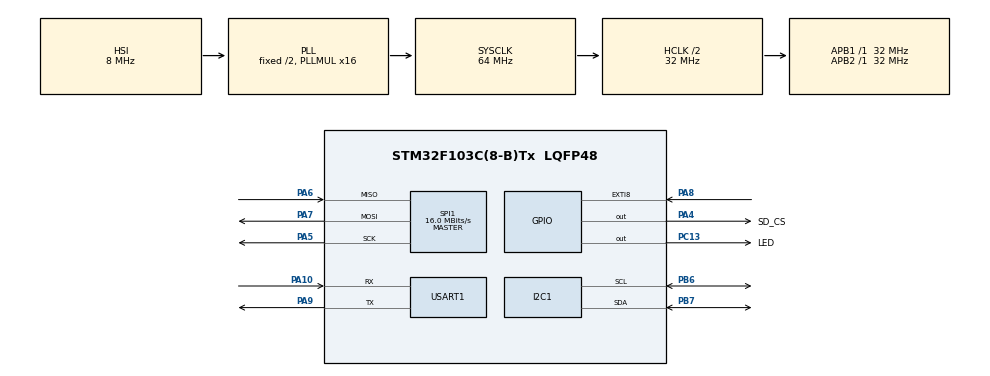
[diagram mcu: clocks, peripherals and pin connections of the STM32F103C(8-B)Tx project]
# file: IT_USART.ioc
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Dma.MEMTOMEM.2.Direction=DMA_MEMORY_TO_MEMORY
Dma.MEMTOMEM.2.Instance=DMA1_Channel1
Dma.MEMTOMEM.2.MemDataAlignment=DMA_MDATAALIGN_BYTE
Dma.MEMTOMEM.2.MemInc=DMA_MINC_ENABLE
Dma.MEMTOMEM.2.Mode=DMA_NORMAL
Dma.MEMTOMEM.2.PeriphDataAlignment=DMA_PDATAALIGN_BYTE
Dma.MEMTOMEM.2.PeriphInc=DMA_PINC_ENABLE
Dma.MEMTOMEM.2.Priority=DMA_PRIORITY_LOW
Dma.Request0=USART1_RX
Dma.Request1=USART1_TX
Dma.Request2=MEMTOMEM
Dma.USART1_RX.0.Direction=DMA_PERIPH_TO_MEMORY
Dma.USART1_RX.0.Instance=DMA1_Channel5
Dma.USART1_RX.0.MemDataAlignment=DMA_MDATAALIGN_BYTE
Dma.USART1_RX.0.MemInc=DMA_MINC_ENABLE
Dma.USART1_RX.0.Mode=DMA_NORMAL
Dma.USART1_RX.0.PeriphDataAlignment=DMA_PDATAALIGN_BYTE
Dma.USART1_RX.0.PeriphInc=DMA_PINC_DISABLE
Dma.USART1_RX.0.Priority=DMA_PRIORITY_MEDIUM
Dma.USART1_TX.1.Direction=DMA_MEMORY_TO_PERIPH
Dma.USART1_TX.1.Instance=DMA1_Channel4
Dma.USART1_TX.1.MemDataAlignment=DMA_MDATAALIGN_BYTE
Dma.USART1_TX.1.MemInc=DMA_MINC_ENABLE
Dma.USART1_TX.1.Mode=DMA_NORMAL
Dma.USART1_TX.1.PeriphDataAlignment=DMA_PDATAALIGN_BYTE
Dma.USART1_TX.1.PeriphInc=DMA_PINC_DISABLE
Dma.USART1_TX.1.Priority=DMA_PRIORITY_MEDIUM
I2C1.I2C_Mode=I2C_Standard
Mcu.Family=STM32F1
Mcu.Name=STM32F103C(8-B)Tx
Mcu.Package=LQFP48
NVIC.DMA1_Channel4_IRQn=true\:1\:0\:true\:false\:true\:false\:true\:true
NVIC.DMA1_Channel5_IRQn=true\:1\:0\:true\:false\:true\:false\:true\:true
NVIC.EXTI9_5_IRQn=true\:2\:0\:true\:false\:true\:true\:true\:true
NVIC.PriorityGroup=NVIC_PRIORITYGROUP_4
NVIC.USART1_IRQn=true\:1\:0\:true\:false\:true\:true\:true\:true
PA10.Mode=Asynchronous
PA10.Signal=USART1_RX
PA13.Mode=Serial_Wire
PA13.Signal=SYS_JTMS-SWDIO
PA14.Mode=Serial_Wire
PA14.Signal=SYS_JTCK-SWCLK
PA4.GPIO_Label=SD_CS
PA4.GPIO_PuPd=GPIO_NOPULL
PA4.GPIO_Speed=GPIO_SPEED_FREQ_LOW
PA4.PinState=GPIO_PIN_RESET
PA4.Signal=GPIO_Output
PA5.Mode=Full_Duplex_Master
PA5.Signal=SPI1_SCK
PA6.Mode=Full_Duplex_Master
PA6.Signal=SPI1_MISO
PA7.Mode=Full_Duplex_Master
PA7.Signal=SPI1_MOSI
PA8.GPIO_ModeDefaultEXTI=GPIO_MODE_IT_FALLING
PA8.GPIO_PuPd=GPIO_PULLUP
PA8.Signal=GPXTI8
PA9.Mode=Asynchronous
PA9.Signal=USART1_TX
PB6.Mode=I2C
PB6.Signal=I2C1_SCL
PB7.Mode=I2C
PB7.Signal=I2C1_SDA
PC13-TAMPER-RTC.GPIO_Label=LED
PC13-TAMPER-RTC.GPIO_PuPd=GPIO_PULLUP
PC13-TAMPER-RTC.GPIO_Speed=GPIO_SPEED_FREQ_LOW
PC13-TAMPER-RTC.PinState=GPIO_PIN_SET
PC13-TAMPER-RTC.Signal=GPIO_Output
PD0-OSC_IN.Mode=HSE-External-Oscillator
PD0-OSC_IN.Signal=RCC_OSC_IN
PD1-OSC_OUT.Mode=HSE-External-Oscillator
PD1-OSC_OUT.Signal=RCC_OSC_OUT
ProjectManager.HeapSize=0x300
ProjectManager.StackSize=0x1000
ProjectManager.TargetToolchain=MDK-ARM V5.32
RCC.AHBCLKDivider=RCC_SYSCLK_DIV2
RCC.AHBFreq_Value=32000000
RCC.APB1Freq_Value=32000000
RCC.APB1TimFreq_Value=32000000
RCC.APB2Freq_Value=32000000
RCC.APB2TimFreq_Value=32000000
RCC.HCLKFreq_Value=32000000
RCC.PLLMUL=RCC_PLL_MUL16
RCC.SYSCLKFreq_VALUE=64000000
RCC.SYSCLKSource=RCC_SYSCLKSOURCE_PLLCLK
RCC.USBFreq_Value=64000000
RTC.Date=2
RTC.Format=RTC_FORMAT_BIN
RTC.Hours=23
RTC.Minutes=59
RTC.Month=RTC_MONTH_JULY
RTC.Seconds=55
RTC.WeekDay=RTC_WEEKDAY_TUESDAY
RTC.Year=24
SPI1.BaudRatePrescaler=SPI_BAUDRATEPRESCALER_2
SPI1.CLKPhase=SPI_PHASE_2EDGE
SPI1.CLKPolarity=SPI_POLARITY_HIGH
SPI1.CalculateBaudRate=16.0 MBits/s
SPI1.Direction=SPI_DIRECTION_2LINES
SPI1.Mode=SPI_MODE_MASTER
SPI1.VirtualType=VM_MASTER
USART1.VirtualMode=VM_ASYNC
VP_FATFS_VS_Generic.Mode=User_defined
VP_RTC_VS_RTC_Activate.Mode=RTC_Enabled
VP_RTC_VS_RTC_Calendar.Mode=RTC_Calendar
board=custom

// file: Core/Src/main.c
/* USER CODE BEGIN Header */
/**
  ******************************************************************************
  * @file           : main.c
  * @brief          : Main program body
  ******************************************************************************
  * @attention
  *
  * Copyright (c) 2024 STMicroelectronics.
  * All rights reserved.
  *
  * This software is licensed under terms that can be found in the LICENSE file
  * in the root directory of this software component.
  * If no LICENSE file comes with this software, it is provided AS-IS.
  *
  ******************************************************************************
  */
/* USER CODE END Header */
#include "main.h"
#include "dma.h"
#include "fatfs.h"
#include "i2c.h"
#include "rtc.h"
#include "spi.h"
#include "usart.h"
#include "gpio.h"

/* USER CODE BEGIN Includes */
#include "oled.h"
#include "SDdriver.h"
/* USER CODE END Includes */

void SystemClock_Config(void);

/* USER CODE BEGIN 0 */
//void WritetoSD(BYTE write_buff[],uint8_t bufSize);
char SD_FileName[] = "hello.txt";
uint8_t WriteBuffer[] = "01 窝室嫩叠\r\n";
uint8_t ReadBuffer[10];

//uint8_t test_sd =0;	//用于测试格式化
uint8_t write_cnt =0;	//写SD卡次数

/* USER CODE END 0 */

int main(void)
{
  /* USER CODE BEGIN 1 */
//	const char message[] = "hello windows!\r\n";  //定义数据发送数组
	char Data[50],Time[50],Weekday[50];
  /* USER CODE END 1 */

  /* MCU Configuration--------------------------------------------------------*/

  /* Reset of all peripherals, Initializes the Flash interface and the Systick. */
  HAL_Init();

  /* Configure the system clock */
  SystemClock_Config();

  /* Initialize all configured peripherals */
  MX_GPIO_Init();
  MX_DMA_Init();
  MX_USART1_UART_Init();
  MX_I2C1_Init();
  MX_RTC_Init();
  MX_SPI1_Init();
  MX_FATFS_Init();
  /* USER CODE BEGIN 2 */
	OLED_Init();
	OLED_Clear();
	//OLED_ShowString(0,0,"hello",6);
	//OLED_ShowNum(5,0,249,4,16);

	// 开启串口接收中断
  HAL_UART_Receive_IT(&huart1, (uint8_t *)&usart1Recv.recvData, 1);

	Get_SDCard_Capacity();	//得到使用内存并选择格式化
  /* USER CODE END 2 */

  /* Infinite loop */
  while (1)
  {

    /* USER CODE BEGIN 3 */
		MyRTC_ReadTime();

		sprintf(Data,"%d%s%d%s%d",MyRTC_Time[0],"/", MyRTC_Time[1],"/",MyRTC_Time[2]);
		sprintf(Time,"%s%d%s%d%s%d","Time is ",MyRTC_Time[3],":",MyRTC_Time[4],":",MyRTC_Time[5]);
		//sprintf(Weekday,"%s%s","Today's ", Weekdays);
		OLED_ShowString(0,0,(uint8_t*)Data,16);
		OLED_ShowString(0,2,(uint8_t*)Time,16);
		//OLED_ShowString(0,4,(uint8_t*)Weekday,16);
		if(MyRTC_Time[5] == 59) //当秒是59的时候就刷新
			OLED_Clear();
		if(usart1Recv.recvFlag == 1)
		{
			usart1Recv.recvFlag = 0;
			if(strcmp(usart1Recv.recvBuff, "LED\r") == 0)
			{
				// 发送数据
				printf(usart1Recv.recvBuff);
				printf("temp is %d\r\n",temp);
				printf("RES_OK is %d\r\n", RES_OK);
				HAL_GPIO_TogglePin(GPIOC,GPIO_PIN_13);

			}
			if(strcmp(usart1Recv.recvBuff, "Write\r") == 0)
			{
				// 写入SD卡
				WritetoSD(WriteBuffer,sizeof(WriteBuffer),SD_FileName);
				WriteBuffer[0] = WriteBuffer[0] +0;
				WriteBuffer[1] = WriteBuffer[1] +1;
				write_cnt ++;
				ReadtoSD(ReadBuffer,5,"data1.txt");
				HAL_GPIO_TogglePin(GPIOC,GPIO_PIN_13);
				OLED_ShowString(0,4,(uint8_t*)ReadBuffer,16);
			}
			// 发送数据
			printf("UART_FLAG\r\n");
			memset(usart1Recv.recvBuff,0,sizeof(usart1Recv.recvBuff));
		}

  }
  /* USER CODE END 3 */
}

void SystemClock_Config(void)
{
  RCC_OscInitTypeDef RCC_OscInitStruct = {0};
  RCC_ClkInitTypeDef RCC_ClkInitStruct = {0};
  RCC_PeriphCLKInitTypeDef PeriphClkInit = {0};

  /** Initializes the RCC Oscillators according to the specified parameters
  * in the RCC_OscInitTypeDef structure.
  */
  RCC_OscInitStruct.OscillatorType = RCC_OSCILLATORTYPE_HSI|RCC_OSCILLATORTYPE_LSI;
  RCC_OscInitStruct.HSIState = RCC_HSI_ON;
  RCC_OscInitStruct.HSICalibrationValue = RCC_HSICALIBRATION_DEFAULT;
  RCC_OscInitStruct.LSIState = RCC_LSI_ON;
  RCC_OscInitStruct.PLL.PLLState = RCC_PLL_ON;
  RCC_OscInitStruct.PLL.PLLSource = RCC_PLLSOURCE_HSI_DIV2;
  RCC_OscInitStruct.PLL.PLLMUL = RCC_PLL_MUL16;
  if (HAL_RCC_OscConfig(&RCC_OscInitStruct) != HAL_OK)
  {
    Error_Handler();
  }

  /** Initializes the CPU, AHB and APB buses clocks
  */
  RCC_ClkInitStruct.ClockType = RCC_CLOCKTYPE_HCLK|RCC_CLOCKTYPE_SYSCLK
                              |RCC_CLOCKTYPE_PCLK1|RCC_CLOCKTYPE_PCLK2;
  RCC_ClkInitStruct.SYSCLKSource = RCC_SYSCLKSOURCE_PLLCLK;
  RCC_ClkInitStruct.AHBCLKDivider = RCC_SYSCLK_DIV2;
  RCC_ClkInitStruct.APB1CLKDivider = RCC_HCLK_DIV1;
  RCC_ClkInitStruct.APB2CLKDivider = RCC_HCLK_DIV1;

  if (HAL_RCC_ClockConfig(&RCC_ClkInitStruct, FLASH_LATENCY_2) != HAL_OK)
  {
    Error_Handler();
  }
  PeriphClkInit.PeriphClockSelection = RCC_PERIPHCLK_RTC;
  PeriphClkInit.RTCClockSelection = RCC_RTCCLKSOURCE_LSI;
  if (HAL_RCCEx_PeriphCLKConfig(&PeriphClkInit) != HAL_OK)
  {
    Error_Handler();
  }
}

void Error_Handler(void)
{
  __disable_irq();
  while (1)
  {
  }
}
